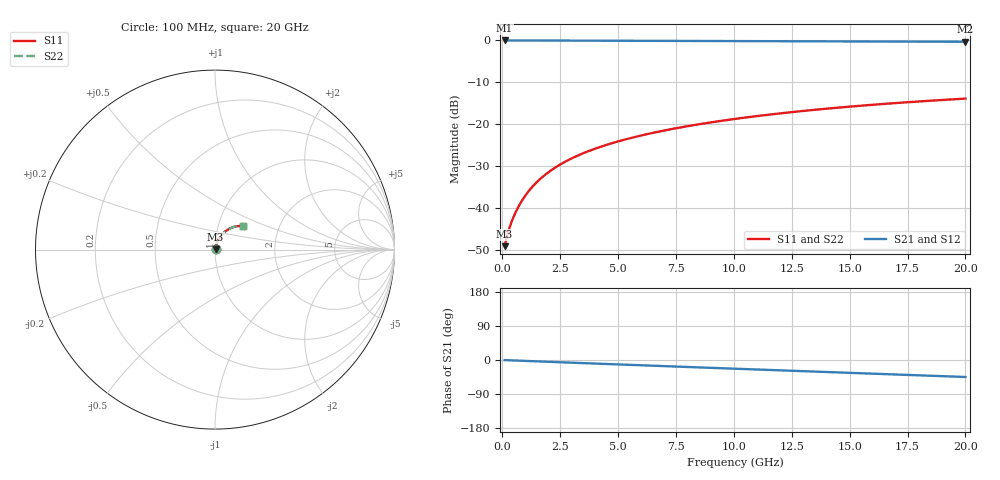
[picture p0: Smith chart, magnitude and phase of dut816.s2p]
! Touchstone file exported from HFSS 2026.1.0
!  File:  C:/ffzhzh/LocalFiles/Ansys_Project_Files/temp_train_BSMRDL_816_1783169974_51560.aedt
!  Generated:  09:00:44 PM Jul  4, 2026
!  Design:  BSMRDL
!  Project:  temp_train_BSMRDL_816_1783169974_51560
! Variables:
!  h_bsmrdl = 5.77um
!  h_ox = 20um
!  h_rdl = 5um
!  h_sub = 80um
!  h_tmrdl = 5um
!  h_tsv = 80um
!  h_via = 3um
!  l_bsmrdl = 785.53um
!  l_sub = 1185.53um
!  l_tmrdl = 200um
!  m_sub = 200um
!  pitch = 26.38um
!  r_tsv = 6um
!  s_tmrdl = 10um
!  w_bsmrdl = 16.26um
!  w_sub = 500um
!  w_tmrdl = 12um
!  x_tsv_center1 = 206um
!  x_tsv_center2 = 1007.79um
!  x_tsv_center3 = 1219.79um
!  x_tsv_center4 = 2021.58um
!  x_tsv_center5 = 2233.58um
!  x_tsv_center6 = 3035.37um
# GHz S MA R 50.000000
! Terminal data exported
! Port[1] = BSM_RDL1_1_T1
! Port[2] = BSM_RDL1_1_T2
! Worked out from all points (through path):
!   200 points, 100 MHz to 20 GHz, reference 50 ohm
!   highest |S21| = -0.03 dB at 100 MHz (marker M1); lowest = -0.3 dB at 20 GHz (marker M2)
!   group delay of S21, straight-line fit = 6.2 ps
!   lowest |S11| = -49.0 dB at 100 MHz (marker M3), VSWR 1.01, Z = 50.3 + j0.168 ohm
!   |S11| at or under -10 dB: start of sweep to end of sweep
!   |S22| runs from -49.0 to -13.9 dB; largest |S21 - S12| = 3.5e-15
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0.1  0.00356 28.0  0.9969 -0.3  0.9969 -0.3  0.00356 28.0
! Gamma 0 0 0 0
! Port Impedance 50 0 50 0
0.2  0.004642 42.5  0.9966 -0.5  0.9966 -0.5  0.004642 42.5
0.3  0.005774 50.7  0.9964 -0.7  0.9964 -0.7  0.005774 50.7
0.4  0.00692 56.2  0.9962 -1.0  0.9962 -1.0  0.00692 56.3
0.5  0.008093 60.3  0.9961 -1.2  0.9961 -1.2  0.008093 60.4
0.6  0.009296 63.5  0.996 -1.5  0.996 -1.5  0.009295 63.5
0.8  0.01177 67.7  0.9958 -1.9  0.9958 -1.9  0.01177 67.7
1  0.0143 70.3  0.9957 -2.4  0.9957 -2.4  0.0143 70.3
1.2  0.01685 71.9  0.9954 -2.9  0.9954 -2.9  0.01685 71.9
1.4  0.01942 72.9  0.9952 -3.4  0.9952 -3.4  0.01942 72.9
1.7  0.02326 73.7  0.9948 -4.1  0.9948 -4.1  0.02326 73.7
2.2  0.02959 74.0  0.9941 -5.2  0.9941 -5.2  0.02959 74.0
2.8  0.03702 73.6  0.9931 -6.6  0.9931 -6.6  0.03702 73.6
3.5  0.04545 72.7  0.9918 -8.3  0.9918 -8.3  0.04545 72.7
4.2  0.05365 71.5  0.9905 -9.9  0.9905 -9.9  0.05365 71.5
5  0.06277 70.1  0.9891 -11.7  0.9891 -11.7  0.06276 70.1
6.8  0.08254 66.8  0.9859 -15.7  0.9859 -15.7  0.08254 66.8
8.3  0.09839 63.9  0.9832 -19.1  0.9832 -19.1  0.09838 64.0
10.1  0.1167 60.4  0.98 -23.1  0.98 -23.1  0.1167 60.5
13.4  0.1483 53.8  0.974 -30.4  0.974 -30.4  0.1483 54.0
16.7  0.1771 47.1  0.9678 -37.7  0.9678 -37.7  0.1771 47.3
20  0.2027 40.4  0.9617 -44.8  0.9617 -44.8  0.2026 40.6
